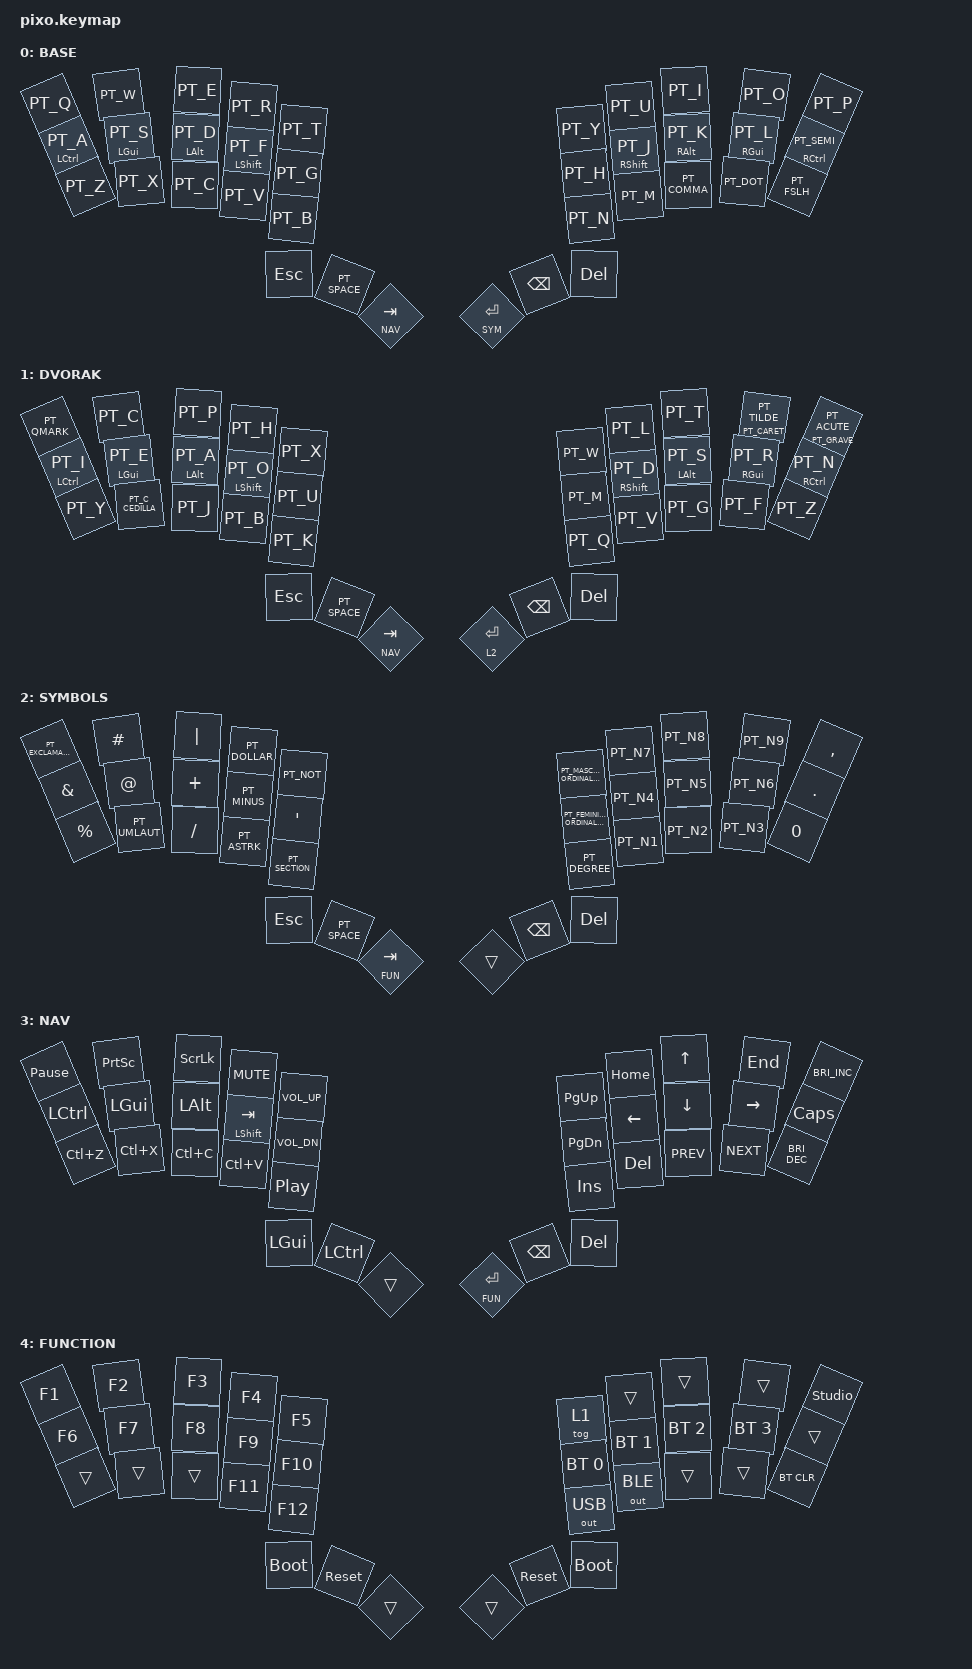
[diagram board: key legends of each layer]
#ifndef KEYMAP_DRAWER

#include "keys_pt_abnt2.h"

#endif

#include <behaviors.dtsi>
#include <dt-bindings/zmk/bt.h>
#include <dt-bindings/zmk/keys.h>
#include <dt-bindings/zmk/outputs.h>

#define BASE 0
#define DVO  1
#define SYM  2
#define NAV  3
#define FUN  4

&mt {
    quick-tap-ms = <100>;
    global-quick-tap;
    flavor = "hold-preferred";
    tapping-term-ms = <400>;
};

/ {
    combos {
        compatible = "zmk,combos";

        leftBracket {
            bindings = <&kp PT_LBKT>;
            key-positions = <11 12>;
            layers = <0 1 5 6>;
        };

        leftPar {
            bindings = <&kp PT_LPAR>;
            key-positions = <21 22>;
            layers = <0 1 5 6>;
        };

        leftBrace {
            bindings = <&kp PT_LEFT_BRACE>;
            key-positions = <1 2>;
            layers = <0 1 5 6>;
        };

        rightBrace {
            bindings = <&kp PT_RIGHT_BRACE>;
            key-positions = <7 8>;
            layers = <0 1 5 6>;
        };

        rightBracket {
            bindings = <&kp PT_RBKT>;
            key-positions = <17 18>;
            layers = <0 1 5 6>;
        };

        rightPar {
            bindings = <&kp PT_RPAR>;
            key-positions = <27 28>;
            layers = <0 1 5 6>;
        };

        virgula {
            bindings = <&kp PT_COMMA>;
            key-positions = <13 12>;
            layers = <0 1 5 6>;
        };

        ponto {
            bindings = <&kp PT_PERIOD>;
            key-positions = <16 17>;
            layers = <0 1 5 6>;
        };

        pontoVirgula {
            bindings = <&kp PT_SEMICOLON>;
            key-positions = <2 3>;
            layers = <0 1 5 6>;
        };

        doisPonto {
            bindings = <&kp PT_COLON>;
            key-positions = <7 6>;
            layers = <1 0 5 6>;
        };

        duplaAspas {
            bindings = <&kp PT_DOUBLE_QUOTES>;
            key-positions = <23 22>;
            layers = <0 1 5 6>;
        };

        aspas {
            bindings = <&kp PT_SQT>;
            key-positions = <26 27>;
            layers = <0 1 5 6>;
        };

        menorQ {
            bindings = <&kp PT_LT>;
            key-positions = <10 11>;
            layers = <0 1 5 6>;
        };

        maiorQ {
            bindings = <&kp PT_GT>;
            key-positions = <18 19>;
            layers = <1 0 5 6>;
        };

        barraVertical {
            bindings = <&kp PT_PIPE>;
            key-positions = <20 21>;
            layers = <0 1 5 6>;
        };

        barra {
            bindings = <&kp PT_BACKSLASH>;
            key-positions = <0 1>;
            layers = <0 1 5 6>;
        };

        barraInvertida {
            bindings = <&kp PT_FSLH>;
            key-positions = <8 9>;
            layers = <0 1 5 6>;
        };

        underscore {
            bindings = <&kp UNDER>;
            key-positions = <14 13>;
        };

        equal {
            bindings = <&kp EQUAL>;
            key-positions = <15 16>;
        };
    };

    keymap {
        compatible = "zmk,keymap";

        // ▄▄▄▄▄▄▄▄▄▄▄▄▄▄▄▄▄▄▄▄▄▄▄▄▄▄▄▄▄▄▄▄▄▄▄▄▄▄▄▄▄▄▄▄▄▄▄▄▄▄▄▄▄▄▄▄▄▄▄▄▄▄▄▄▄▄▄▄▄▄▄▄▄▄▄▄▄▄▄▄▄▄▄▄▄▄▄▄▄▄▄▄▄▄▄▄▄▄▄▄▄▄▄▄▄▄▄▄▄▄▄▄▄▄▄▄▄▄▄▄▄▄▄▄▄▄▄▄▄▄▄▄▄▄▄▄▄▄▄▄▄▄▄▄▄▄▄▄▄

        qwerty {
            display-name = "BASE";
            bindings = <
&kp PT_Q        &kp PT_W       &kp PT_E       &kp PT_R        &kp PT_T     &kp PT_Y     &kp PT_U         &kp PT_I       &kp PT_O       &kp PT_P
&mt LCTRL PT_A  &mt LGUI PT_S  &mt LALT PT_D  &mt LSHFT PT_F  &kp PT_G     &kp PT_H     &mt RSHIFT PT_J  &mt RALT PT_K  &mt RGUI PT_L  &mt RCTRL PT_SEMI
&kp PT_Z        &kp PT_X       &kp PT_C       &kp PT_V        &kp PT_B     &kp PT_N     &kp PT_M         &kp PT_COMMA   &kp PT_DOT     &kp PT_FSLH
                               &kp ESC        &kp PT_SPACE    &lt NAV TAB  &lt SYM RET  &kp BSPC         &kp DEL
            >;
        };

        dvorak_br_nativo {
            display-name = "DVORAK";
            bindings = <
&kp PT_QMARK    &kp PT_C          &kp PT_P       &kp PT_H        &kp PT_X     &kp PT_W   &kp PT_L        &kp PT_T       &mt PT_CARET PT_TILDE  &mt PT_GRAVE PT_ACUTE
&mt LCTRL PT_I  &mt LGUI PT_E     &mt LALT PT_A  &mt LSHFT PT_O  &kp PT_U     &kp PT_M   &mt RSHFT PT_D  &mt LALT PT_S  &mt RGUI PT_R          &mt RCTRL PT_N
&kp PT_Y        &kp PT_C_CEDILLA  &kp PT_J       &kp PT_B        &kp PT_K     &kp PT_Q   &kp PT_V        &kp PT_G       &kp PT_F               &kp PT_Z
                                  &kp ESC        &kp PT_SPACE    &lt NAV TAB  &lt 2 RET  &kp BSPC        &kp DEL
            >;
        };

        Symbols_layer {
            display-name = "SYMBOLS";
            bindings = <
&kp PT_EXCLAMATION  &kp POUND      &kp PIPE  &kp PT_DOLLAR  &kp PT_NOT      &kp PT_MASCULINE_ORDINAL_INDICATOR  &kp PT_N7  &kp PT_N8  &kp PT_N9  &kp COMMA
&kp AMPS            &kp AT         &kp PLUS  &kp PT_MINUS   &kp APOS        &kp PT_FEMININE_ORDINAL_INDICATOR   &kp PT_N4  &kp PT_N5  &kp PT_N6  &kp DOT
&kp PRCNT           &kp PT_UMLAUT  &kp FSLH  &kp PT_ASTRK   &kp PT_SECTION  &kp PT_DEGREE                       &kp PT_N1  &kp PT_N2  &kp PT_N3  &kp N0
                                   &kp ESC   &kp PT_SPACE   &lt FUN TAB     &trans                              &kp BSPC   &kp DEL
            >;
        };

        navigation_layer {
            display-name = "NAV";
            bindings = <
&kp PAUSE_BREAK  &kp PRINTSCREEN  &kp SCROLLLOCK  &kp C_MUTE     &kp C_VOL_UP      &kp PG_UP    &kp HOME    &kp UP      &kp END     &kp C_BRIGHTNESS_INC
&kp LCTRL        &kp LGUI         &kp LALT        &mt LSHFT TAB  &kp C_VOL_DN      &kp PG_DN    &kp LEFT    &kp DOWN    &kp RIGHT   &kp CAPS
&kp LC(Z)        &kp LC(X)        &kp LC(C)       &kp LC(V)      &kp C_PLAY_PAUSE  &kp INS      &kp DELETE  &kp C_PREV  &kp C_NEXT  &kp C_BRIGHTNESS_DEC
                                  &kp LGUI        &kp LCTRL      &trans            &lt FUN RET  &kp BSPC    &kp DEL
            >;
        };

        function_layer {
            display-name = "FUNCTION";
            bindings = <
&kp F1  &kp F2  &kp F3       &kp F4      &kp F5   &tog 1        &trans        &trans        &trans        &studio_unlock
&kp F6  &kp F7  &kp F8       &kp F9      &kp F10  &bt BT_SEL 0  &bt BT_SEL 1  &bt BT_SEL 2  &bt BT_SEL 3  &trans
&trans  &trans  &trans       &kp F11     &kp F12  &out OUT_USB  &out OUT_BLE  &trans        &trans        &bt BT_CLR
                &bootloader  &sys_reset  &trans   &trans        &sys_reset    &bootloader
            >;
        };

        extra1 { status = "reserved"; };

        extra2 { status = "reserved"; };
    };
};
